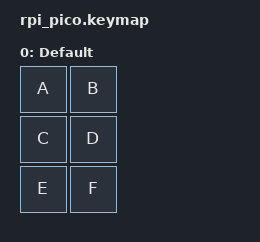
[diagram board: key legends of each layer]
/*
 * Copyright (c) 2020 The ZMK Contributors
 *
 * SPDX-License-Identifier: MIT
 */

#include <behaviors.dtsi>
#include <dt-bindings/zmk/keys.h>

/ {
    keymap {
        compatible = "zmk,keymap";

        default_layer {
            display-name = "Default";
            bindings = <
                &kp A &kp B
                &kp C &kp D
                &kp E &kp F
            >;
        };
    };
};
